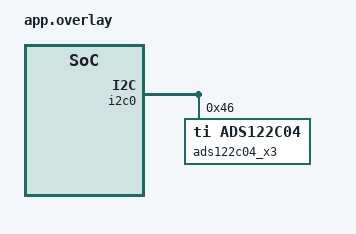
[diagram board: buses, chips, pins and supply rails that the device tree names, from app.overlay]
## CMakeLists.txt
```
#
# Copyright (c) 2023 HARDWARIO a.s.
#
# SPDX-License-Identifier: LicenseRef-HARDWARIO-5-Clause
#

cmake_minimum_required(VERSION 3.20.0)

set(SHIELD ctr_x3_a)
find_package(Zephyr REQUIRED HINTS $ENV{ZEPHYR_BASE})
project(chester_x3)

target_sources(app PRIVATE src/main.c)
```

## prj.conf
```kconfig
#
# Copyright (c) 2023 HARDWARIO a.s.
#
# SPDX-License-Identifier: LicenseRef-HARDWARIO-5-Clause
#

CONFIG_ADC_LOG_LEVEL_DBG=y
CONFIG_CTR_DEFAULTS=y
CONFIG_CTR_LOG=y
CONFIG_CTR_SHELL=y
```

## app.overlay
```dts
/*
 * Copyright (c) 2023 HARDWARIO a.s.
 *
 * SPDX-License-Identifier: LicenseRef-HARDWARIO-5-Clause
 */

&i2c0 {
	ads122c04_x3: ads122c04_x3@46 {
		compatible = "ti,ads122c04";
		reg = <0x46>;
		#io-channel-cells = <1>;
	};
};
```

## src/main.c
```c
/*
 * Copyright (c) 2023 HARDWARIO a.s.
 *
 * SPDX-License-Identifier: LicenseRef-HARDWARIO-5-Clause
 */

/* CHESTER includes */
#include <chester/drivers/ctr_x3.h>

/* Zephyr includes */
#include <zephyr/device.h>
#include <zephyr/devicetree.h>
#include <zephyr/kernel.h>
#include <zephyr/logging/log.h>

/* Standard includes */
#include <inttypes.h>
#include <stdint.h>

LOG_MODULE_REGISTER(main, LOG_LEVEL_DBG);

int main(void)
{
	int ret;

	LOG_INF("Build time: " __DATE__ " " __TIME__);

	static const struct device *dev = DEVICE_DT_GET(DT_NODELABEL(ctr_x3_a));

	if (!device_is_ready(dev)) {
		LOG_ERR("Device not ready");
		k_oops();
	}

	for (;;) {
		ret = ctr_x3_set_power(dev, CTR_X3_CHANNEL_1, true);
		if (ret) {
			LOG_ERR("Call `ctr_x3_set_power` failed: %d", ret);
			k_oops();
		}

		k_sleep(K_MSEC(100));

		int32_t result;
		ret = ctr_x3_measure(dev, CTR_X3_CHANNEL_1, &result);
		if (ret) {
			LOG_ERR("Call `ctr_x3_measure` failed: %d", ret);
			k_oops();
		}

		LOG_INF("ADC result: %" PRId32 " (0x08%" PRIx32 ")", result, result);

		ret = ctr_x3_set_power(dev, CTR_X3_CHANNEL_1, false);
		if (ret) {
			LOG_ERR("Call `ctr_x3_set_power` failed: %d", ret);
			k_oops();
		}

		k_sleep(K_SECONDS(1));
	}

	return 0;
}
```
